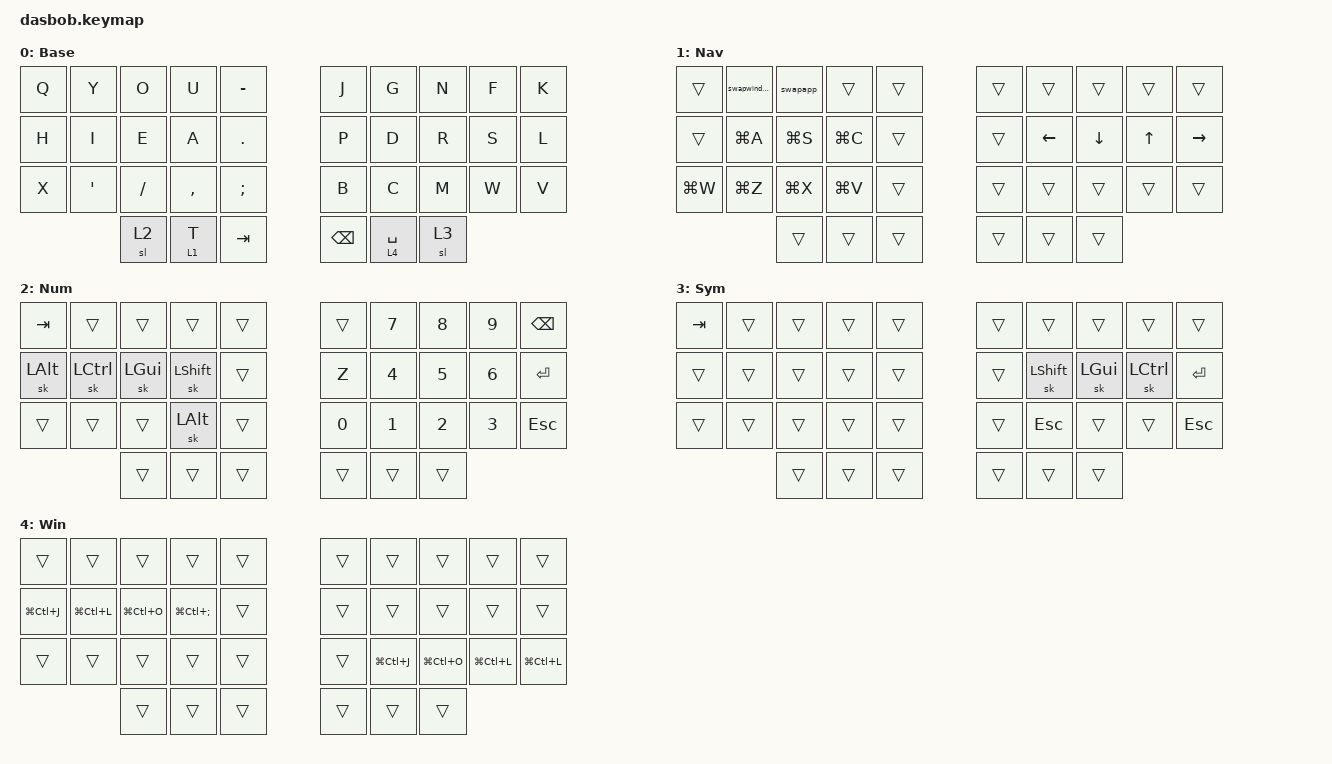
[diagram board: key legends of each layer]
#include <behaviors.dtsi>
#include <dt-bindings/zmk/keys.h>
#include <dt-bindings/zmk/pointing.h>

/ {
    behaviors {


        hm: homerow_mods {
            compatible = "zmk,behavior-hold-tap";
            label = "HOMEROW_MODS";
            bindings = <&kp>, <&kp>;

            #binding-cells = <2>;
            tapping-term-ms = <200>;
            quick-tap-ms = <0>;
            flavor = "tap-preferred";
        };

        swapapp: swapapp {
            compatible = "zmk,behavior-tri-state";
            label = "SWAPPER";
            #binding-cells = <0>;
            bindings = <&kt LGUI>, <&kp TAB>, <&kt LGUI>;
            ignored-key-positions = <0 2 16 17 18 19>;
        };

        swapwindow: swapwindow {
            compatible = "zmk,behavior-tri-state";
            label = "SWAPPER_WINDOW";
            #binding-cells = <0>;
            bindings = <&kt LGUI>, <&kp GRAVE>, <&kt LGUI>;
            ignored-key-positions = <1>;
        };
    };

    combos {
        compatible = "zmk,combos";

        bootloader_combo {
            timeout-ms = <50>;  // max delay between keys
            key-positions = <4 5>; 
            bindings = <&bootloader>;
        };

        enter_combo {
            timeout-ms = <50>;  // max delay between keys
            key-positions = <27 28>; 
            bindings = <&kp ENTER>;
        };

        backspace_combo {
            timeout-ms = <50>;  // max delay between keys
            key-positions = <26 27>; 
            bindings = <&kp BACKSPACE>;
        };
    };

    macros {
        save: save {
            compatible = "zmk,behavior-macro";
            #binding-cells = <0>;
            bindings = <&kp LEFT_GUI &kp S>;
            label = "SAVE";
        };
    };

    keymap {
        compatible = "zmk,keymap";

        Base {
            bindings = <
&kp Q  &kp Y             &kp O        &kp U        &kp MINUS      /**/  &kp J          &kp G        &kp N  &kp F    &kp K
&kp H  &kp I             &kp E        &kp A        &kp DOT        /**/  &kp P          &kp D        &kp R  &kp S    &kp L
&kp X  &kp SINGLE_QUOTE  &kp SLASH    &kp COMMA    &kp SEMICOLON  /**/  &kp B          &kp C        &kp M  &kp W    &kp V
                         &sl 2        &lt 1 T      &kp TAB        /**/  &kp BACKSPACE  &lt 4 SPACE  &sl 3
            >;
        };

        Nav {
            bindings = <
&trans     &swapwindow  &swapapp   &trans     &trans  /**/  &trans  &trans          &trans          &trans        &trans
&trans     &kp LG(A)    &kp LG(S)  &kp LG(C)  &trans  /**/  &trans  &kp LEFT        &kp DOWN        &kp UP        &kp RIGHT
&kp LG(W)  &kp LG(Z)    &kp LG(X)  &kp LG(V)  &trans  /**/  &trans  &trans          &trans          &trans        &trans
                        &trans     &trans     &trans  /**/  &trans  &trans          &trans
            >;
        };

        Num {
            bindings = <
&kp TAB   &trans     &trans    &trans     &trans  /**/  &trans  &kp N7  &kp N8  &kp N9  &kp BACKSPACE
&sk LALT  &sk LCTRL  &sk LGUI  &sk LSHFT  &trans  /**/  &kp Z   &kp N4  &kp N5  &kp N6  &kp ENTER
&trans    &trans     &trans    &sk LALT   &trans  /**/  &kp N0  &kp N1  &kp N2  &kp N3  &kp ESCAPE
                     &trans    &trans     &trans  /**/  &trans  &trans  &trans
            >;
        };

        Sym {
            bindings = <
&kp TAB  &trans  &trans  &trans  &trans  /**/  &trans  &trans      &trans    &trans     &trans
&trans   &trans  &trans  &trans  &trans  /**/  &trans  &sk LSHFT   &sk LGUI  &sk LCTRL  &kp ENTER
&trans   &trans  &trans  &trans  &trans  /**/  &trans  &kp ESCAPE  &trans    &trans     &kp ESCAPE
                 &trans  &trans  &trans  /**/  &trans  &trans      &trans
            >;
        };

        Win {
            bindings = <
&trans         &trans         &trans         &trans                 &trans  /**/  &trans  &trans         &trans         &trans         &trans
&kp LG(LC(J))  &kp LG(LC(L))  &kp LG(LC(O))  &kp LG(LC(SEMICOLON))  &trans  /**/  &trans  &trans         &trans         &trans         &trans
&trans         &trans         &trans         &trans                 &trans  /**/  &trans  &kp LG(LC(J))  &kp LG(LC(O))  &kp LG(LC(L))  &kp LG(LC(L))
                              &trans         &trans                 &trans  /**/  &trans  &trans         &trans
            >;
        };
    };
};
